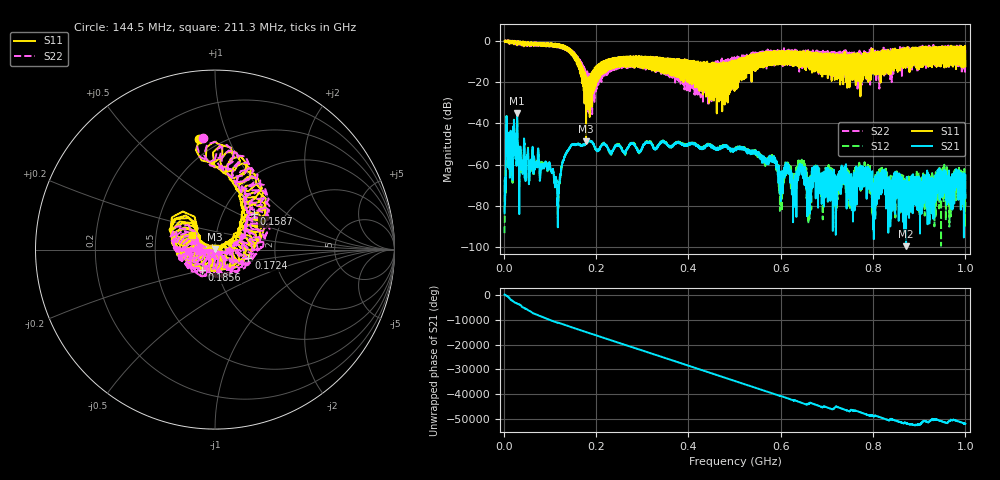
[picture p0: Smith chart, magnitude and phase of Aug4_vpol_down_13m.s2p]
!Keysight Technologies N9923A: A.12.45
!Date: Tuesday, 05 August 2025 20:35:06
!Timezone: (UTC+08:00) Kuala Lumpur, Singapore
!Model: N9923A
!Serial: MY61181427
!GPS Latitude:
!GPS Longitude:
!GPS TimeStamp: 0001-01-01 00:00:00Z
!GPS Seconds Since Last Read: 0
!CHECKSUM:2138746199
!Correction: S11(ON U)S21(ON U)S12(ON U)S22(ON U)
!S2P File: Measurements:S11,S21,S12,S22:
# Hz S DB R 50
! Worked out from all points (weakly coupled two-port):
!   4001 points, 2 MHz to 1 GHz, reference 50 ohm
!   highest |S21| = -35.19 dB at 29.2 MHz (marker M1); lowest = -99.4 dB at 871.5 MHz (marker M2)
!   lowest |S11| = -48.6 dB at 178.4 MHz (marker M3), VSWR 1.01, Z = 50 + j0.371 ohm
!   |S11| at or under -10 dB: 163 MHz to 215.5 MHz (52.56 MHz wide, 27.8 % of centre); 412.3 MHz to 420.4 MHz (8.153 MHz wide, 1.96 % of centre); 420.7 MHz to 494 MHz (73.33 MHz wide, 16 % of centre)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
!   |S22| runs from -35.5 to 0.1 dB; largest |S21 - S12| = 0.00098
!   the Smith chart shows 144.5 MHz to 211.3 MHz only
!   S11 on the Smith chart (normalised r, x): 144.5 MHz: 0.39, +0.79; 158.7 MHz: 1.39, +0.60; 172.4 MHz: 1.45, -0.14; 185.6 MHz: 0.84, -0.20; 211.3 MHz: 0.76, +0.12
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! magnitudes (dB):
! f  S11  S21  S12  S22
! 2 MHz  -0.1  -83.5  -93.1  -0.1
! 9.984 MHz  0.1  -49.8  -49.7  0.1
! 29.2 MHz  -2.2  -35.2  -35.0  -2.3
! 115.3 MHz  -2.7  -70.5  -70.7  -3.0
! 144.5 MHz  -4.1  -51.4  -51.3  -4.0
! 158.7 MHz  -10.7  -50.1  -50.4  -10.3
! 168.4 MHz  -17.5  -50.7  -50.5  -15.1
! 172.4 MHz  -14.3  -50.1  -50.2  -13.5
! 178.4 MHz  -48.6  -49.9  -49.6  -22.1
! 185.6 MHz  -17.3  -48.4  -48.3  -17.4
! 211.3 MHz  -16.4  -50.9  -50.5  -16.5
! 334.8 MHz  -8.3  -50.9  -50.8  -10.4
! 501 MHz  -9.7  -53.1  -52.6  -9.1
! 584.3 MHz  -8.1  -57.0  -56.8  -10.6
! 600.3 MHz  -6.4  -67.4  -66.6  -5.0
! 613.5 MHz  -5.1  -61.3  -60.2  -5.8
! 629.2 MHz  -10.3  -79.5  -72.0  -5.9
! 643.2 MHz  -9.0  -60.5  -60.4  -11.7
! 667.4 MHz  -6.1  -63.0  -70.3  -7.1
! 833.8 MHz  -6.7  -73.5  -72.0  -13.9
! 871.5 MHz  -5.7  -99.4  -69.0  -5.0
! 1 GHz  -12.4  -65.0  -74.2  -3.9
